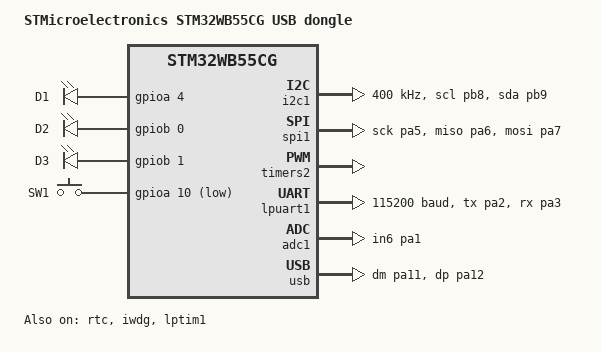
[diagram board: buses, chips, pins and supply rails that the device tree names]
/*
 * Copyright (c) 2021 The ZMK Contributors
 * SPDX-License-Identifier: MIT
 */

/dts-v1/;
#include <st/wb/stm32wb55Xg.dtsi>
#include <st/wb/stm32wb55cgux-pinctrl.dtsi>

/ {
	model = "STMicroelectronics STM32WB55CG USB dongle";
	compatible = "st,stm32wb55cg-dongle";

	chosen {
		zephyr,bt-mon-uart = &lpuart1;
		zephyr,sram = &sram0;
		zephyr,flash = &flash0;
		zephyr,code-partition = &slot0_partition;
	};

	leds {
		compatible = "gpio-leds";
		blue_led_1: led_0 {
			gpios = <&gpioa 4 GPIO_ACTIVE_HIGH>;
			label = "D1";
		};
		green_led_2: led_1 {
			gpios = <&gpiob 0 GPIO_ACTIVE_HIGH>;
			label = "D2";
		};
		red_led_3: led_2 {
			gpios = <&gpiob 1 GPIO_ACTIVE_HIGH>;
			label = "D3";
		};
	};

	gpio_keys {
		compatible = "gpio-keys";
		user_button_1: button_0 {
			label = "SW1";
			gpios = <&gpioa 10 (GPIO_ACTIVE_LOW | GPIO_PULL_UP)>;
		};
	};

	aliases {
		led0 = &blue_led_1;
		led1 = &green_led_2;
		led2 = &red_led_3;
		sw0 = &user_button_1;
	};
};

&i2c1 {
	status = "okay";
	clock-frequency = <I2C_BITRATE_FAST>;
	pinctrl-0 = <&i2c1_scl_pb8 &i2c1_sda_pb9>;
};

&rtc {
	status = "okay";
};

&spi1 {
	pinctrl-0 = <&spi1_sck_pa5 &spi1_miso_pa6 &spi1_mosi_pa7>;
	status = "okay";
};

&timers2 {
	status = "okay";
	pwm2: pwm {
		status = "okay";
		pinctrl-0 = <&tim2_ch1_pa0>;
	};
};

&lpuart1 {
	pinctrl-0 = <&lpuart1_tx_pa2 &lpuart1_rx_pa3>;
	current-speed = <115200>;
	status = "okay";
};

&adc1 {
	pinctrl-0 = <&adc1_in6_pa1>;
	status = "okay";
};

&iwdg {
	status = "okay";
};

&lptim1 {
	status = "okay";
};

&usb {
	status = "okay";
	pinctrl-0 = <&usb_dm_pa11 &usb_dp_pa12>;
};

&flash0 {
	/*
	 * For more information, see:
	 * http://docs.zephyrproject.org/latest/devices/dts/flash_partitions.html
	 */
	partitions {
		compatible = "fixed-partitions";
		#address-cells = <1>;
		#size-cells = <1>;

		/* Set all partitions with first 812K of flash */
		/* last 212K are reseved for M0 usage */
		/* Configure partitions to make use of the whole 812K */

		boot_partition: partition@0 {
			label = "mcuboot";
			reg = <0x00000000 0xc000>;
		};
		slot0_partition: partition@c000 {
			label = "image-0";
			reg = <0x0000C000 0x5c000>;
		};
		slot1_partition: partition@68000 {
			label = "image-1";
			reg = <0x00068000 0x5c000>;
		};
		scratch_partition: partition@c4000 {
			label = "image-scratch";
			reg = <0x000c4000 0x4000>;
		};
		storage_partition: partition@c8000 {
			label = "storage";
			reg = <0x000c8000 0x3000>;
		};

	};
};
